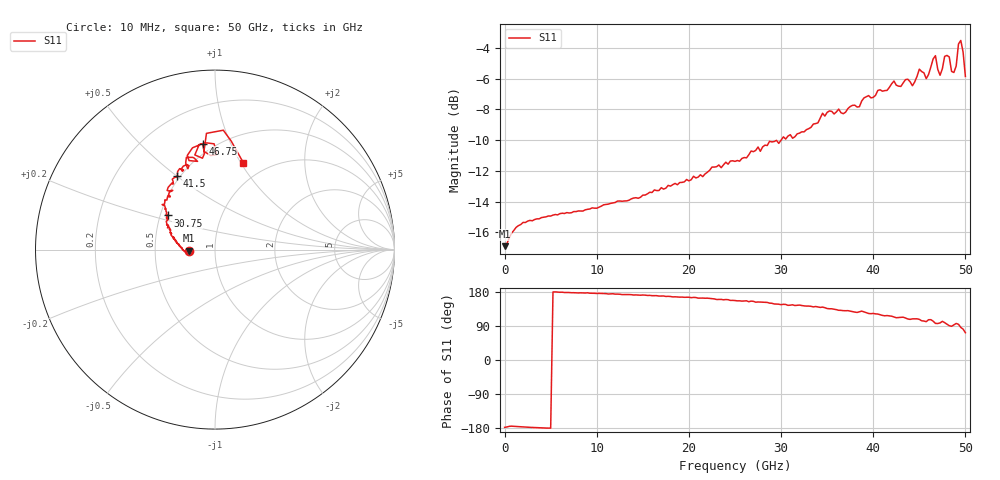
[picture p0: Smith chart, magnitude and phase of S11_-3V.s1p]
!Agilent Technologies,N5227A,US51270434,A.10.00.00
!Agilent N5227A: A.10.00.00
!Date: Thursday, February 26, 2026 12:50:50
!Correction: S11(Full 1 Port(1))
!S1P File: Measurement: S11:
# Hz S  dB  R 50
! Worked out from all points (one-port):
!   201 points, 10 MHz to 50 GHz, reference 50 ohm
!   lowest |S11| = -16.9 dB at 10 MHz (marker M1), VSWR 1.33, Z = 37.5 - j0.43 ohm
!   |S11| at or under -10 dB: start of sweep to 30.01 GHz
!   S11 on the Smith chart (normalised r, x): 10 MHz: 0.75, -0.01; 30.75 GHz: 0.55, +0.23; 41.5 GHz: 0.48, +0.50; 46.75 GHz: 0.43, +0.79; 50 GHz: 0.78, +1.03
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1e7  -16.89 -177.7
2.0096e9  -15.35 -176.6
6.25875e9  -14.75 178.9
1.25075e10  -13.96 173.5
1.875625e10  -12.90 166.2
2.5005e10  -11.38 156.9
3.075385e10  -9.73 144.2
3.125375e10  -9.87 145.7
3.45031e10  -8.25 139.6
3.75025e10  -7.82 128.9
4.15017e10  -6.77 117.2
4.375125e10  -6.04 108.2
4.425115e10  -6.46 108.5
4.5001e10  -5.39 107.3
4.575085e10  -6.00 101.2
4.625075e10  -5.25 106.4
4.675065e10  -4.51 96.6
4.725055e10  -5.78 97.8
4.75005e10  -5.36 102.0
4.80004e10  -4.49 94.4
4.825035e10  -4.59 90.5
4.85003e10  -5.53 89.0
4.875025e10  -5.60 92.6
4.90002e10  -5.18 96.4
4.925015e10  -3.75 94.2
4.95001e10  -3.52 86.0
4.975005e10  -4.27 81.5
5e10  -5.86 71.9
